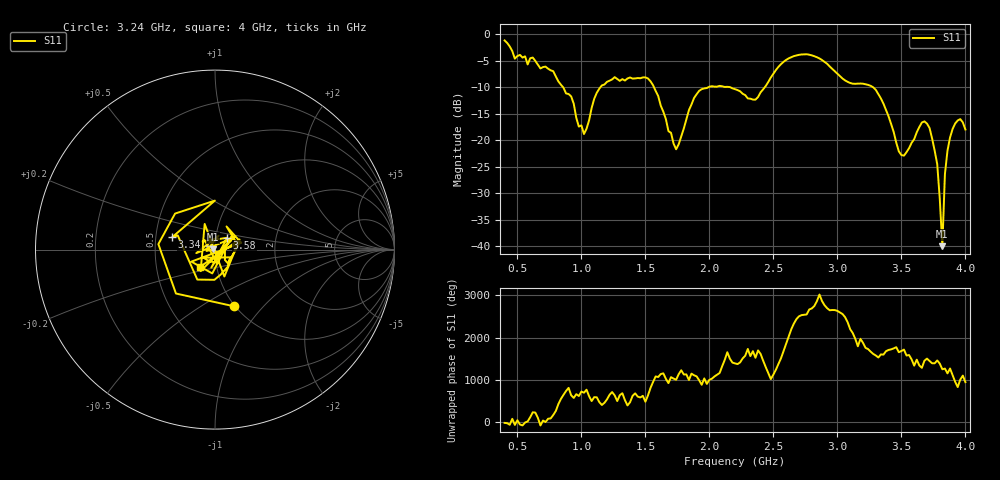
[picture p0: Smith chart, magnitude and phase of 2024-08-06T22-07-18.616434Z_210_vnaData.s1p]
!Created with skrf (http://scikit-rf.org).
# Hz S RI R 50.0
!freq ReS11 ImS11
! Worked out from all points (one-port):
!   181 points, 400 MHz to 4 GHz, reference 50 ohm
!   lowest |S11| = -40.0 dB at 3.82 GHz (marker M1), VSWR 1.02, Z = 49 + j0.137 ohm
!   |S11| at or under -10 dB: 858.3 MHz to 1.147 GHz (289.1 MHz wide, 28.8 % of centre); 1.568 GHz to 1.989 GHz (421.5 MHz wide, 23.7 % of centre); 3.281 GHz to end of sweep (the widest 3 of 4)
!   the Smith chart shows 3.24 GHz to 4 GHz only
!   S11 on the Smith chart (normalised r, x): 3.24 GHz: 0.99, -0.71; 3.34 GHz: 0.61, +0.09; 3.58 GHz: 1.14, +0.15; 4 GHz: 0.83, -0.16
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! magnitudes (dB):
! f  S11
! 400 MHz  -1.1
! 480 MHz  -4.6
! 620 MHz  -4.4
! 860 MHz  -10.0
! 1.02 GHz  -18.8
! 1.14 GHz  -10.2
! 1.3 GHz  -8.8
! 1.52 GHz  -8.3
! 1.74 GHz  -21.7
! 1.76 GHz  -20.7
! 1.92 GHz  -10.6
! 2.2 GHz  -10.3
! 2.36 GHz  -12.3
! 2.66 GHz  -4.1
! 3.1 GHz  -9.2
! 3.24 GHz  -9.5
! 3.34 GHz  -12.1
! 3.48 GHz  -22.1
! 3.56 GHz  -21.5
! 3.58 GHz  -20.5
! 3.66 GHz  -16.6
! 3.72 GHz  -17.7
! 3.78 GHz  -24.5
! 3.82 GHz  -40.0
! 3.84 GHz  -26.4
! 3.88 GHz  -19.5
! 3.94 GHz  -16.2
! 4 GHz  -17.9
